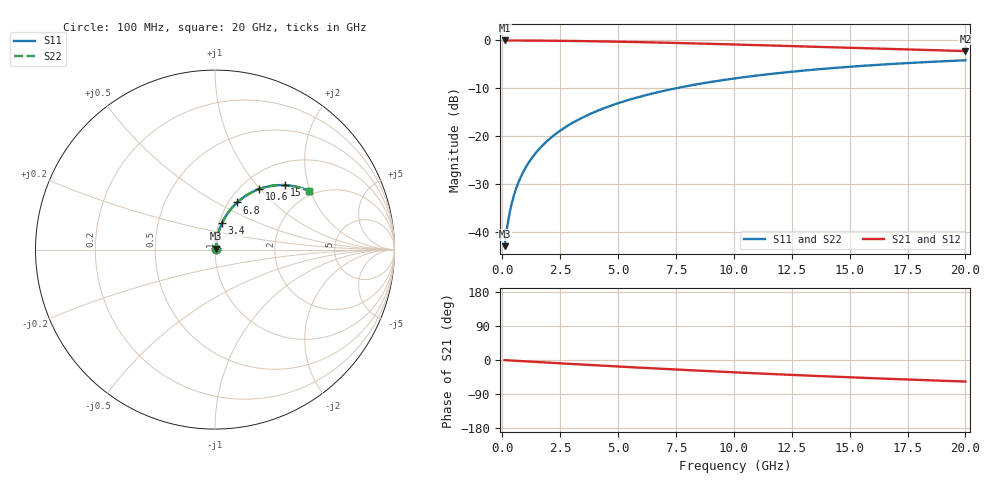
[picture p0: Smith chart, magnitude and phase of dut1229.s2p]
! Touchstone file exported from HFSS 2026.1.0
!  File:  C:/ffzhzh/LocalFiles/Ansys_Project_Files/temp_train_BSMRDL_1229_1783176955_51560.aedt
!  Generated:  10:57:29 PM Jul  4, 2026
!  Design:  BSMRDL
!  Project:  temp_train_BSMRDL_1229_1783176955_51560
! Variables:
!  h_bsmrdl = 4.84um
!  h_ox = 20um
!  h_rdl = 5um
!  h_sub = 80um
!  h_tmrdl = 5um
!  h_tsv = 80um
!  h_via = 3um
!  l_bsmrdl = 792.75um
!  l_sub = 1192.75um
!  l_tmrdl = 200um
!  m_sub = 200um
!  pitch = 55.77um
!  r_tsv = 6um
!  s_tmrdl = 10um
!  w_bsmrdl = 10.8um
!  w_sub = 500um
!  w_tmrdl = 12um
!  x_tsv_center1 = 206um
!  x_tsv_center2 = 1009.55um
!  x_tsv_center3 = 1221.55um
!  x_tsv_center4 = 2025.1um
!  x_tsv_center5 = 2237.1um
!  x_tsv_center6 = 3040.65um
# GHz S MA R 50.000000
! Terminal data exported
! Port[1] = BSM_RDL1_1_T1
! Port[2] = BSM_RDL1_1_T2
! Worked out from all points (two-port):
!   200 points, 100 MHz to 20 GHz, reference 50 ohm
!   highest |S21| = -0.05 dB at 100 MHz (marker M1); lowest = -2.3 dB at 20 GHz (marker M2)
!   |S21| within 3 dB of the highest: start of sweep to end of sweep
!   lowest |S11| = -42.9 dB at 100 MHz (marker M3), VSWR 1.01, Z = 50.5 + j0.476 ohm
!   |S11| at or under -10 dB: start of sweep to 7.512 GHz
!   |S22| runs from -42.9 to -4.2 dB; largest |S21 - S12| = 3.6e-15
!   S11 on the Smith chart (normalised r, x): 100 MHz: 1.01, +0.01; 3.4 GHz: 1.03, +0.31; 6.8 GHz: 1.09, +0.63; 10.6 GHz: 1.21, +0.99; 15 GHz: 1.43, +1.43; 20 GHz: 1.86, +1.96
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0.1  0.007143 41.2  0.9946 -0.4  0.9946 -0.4  0.007143 41.2
! Gamma 0 0 0 0
! Port Impedance 50 0 50 0
0.2  0.0109 59.5  0.9945 -0.7  0.9945 -0.7  0.0109 59.5
0.3  0.01517 67.7  0.9944 -1.1  0.9944 -1.1  0.01517 67.7
0.4  0.0196 72.0  0.9942 -1.4  0.9942 -1.4  0.0196 72.0
0.5  0.02408 74.5  0.994 -1.8  0.994 -1.8  0.02408 74.5
0.7  0.03311 77.3  0.9936 -2.5  0.9936 -2.5  0.03311 77.3
1  0.04671 79.0  0.9929 -3.5  0.9929 -3.5  0.04671 79.0
1.4  0.06485 79.5  0.9916 -4.9  0.9916 -4.9  0.06485 79.5
2  0.09191 78.8  0.9891 -7.0  0.9891 -7.0  0.09191 78.8
2.6  0.1187 77.4  0.9857 -9.1  0.9857 -9.1  0.1187 77.4
3.4  0.1536 75.2  0.9802 -11.9  0.9802 -11.9  0.1536 75.2
3.5  0.1579 74.9  0.9794 -12.2  0.9794 -12.2  0.1579 74.9
4.2  0.1876 72.8  0.9735 -14.5  0.9735 -14.5  0.1876 72.8
5  0.2205 70.3  0.9658 -17.2  0.9658 -17.2  0.2205 70.3
6.8  0.2903 64.8  0.9456 -22.9  0.9456 -22.9  0.2903 64.8
8.3  0.3437 60.4  0.9267 -27.5  0.9267 -27.5  0.3437 60.4
10.1  0.4019 55.3  0.9023 -32.8  0.9023 -32.8  0.4019 55.3
10.6  0.417 53.9  0.8953 -34.2  0.8953 -34.2  0.417 53.9
13.4  0.4924 46.7  0.856 -41.7  0.856 -41.7  0.4924 46.6
15  0.5291 42.8  0.8339 -45.7  0.8339 -45.7  0.5291 42.8
16.7  0.5634 38.9  0.8114 -49.7  0.8114 -49.7  0.5634 38.8
20  0.618 31.8  0.7715 -56.9  0.7715 -56.9  0.618 31.8
